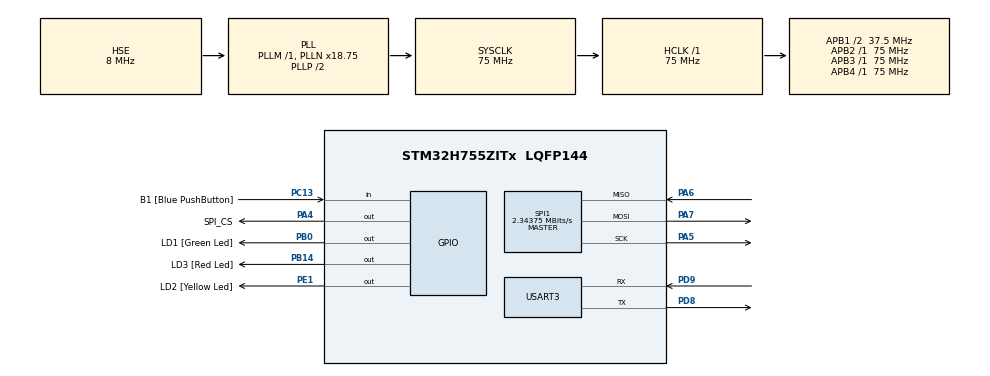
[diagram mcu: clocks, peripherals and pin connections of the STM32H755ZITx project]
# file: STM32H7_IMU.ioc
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CortexM4.IPs=BDMA,CORTEX_M4\:I,DEBUG,DMA,FATFS_M4\:I,FREERTOS_M4\:I,GPIO,IWDG2\:I,MDMA,NVIC2\:I,OPENAMP_M4\:I,PDM2PCM_M4\:I,PWR,RCC,RESMGR_UTILITY,SYS_M4\:I,USB_DEVICE_M4\:I,USB_HOST_M4\:I,VREFBUF,WWDG2\:I
CortexM4.Pins=PE1
CortexM7.IPs=BDMA\:I,CORTEX_M7\:I,DEBUG\:I,DMA\:I,FATFS_M7\:I,FREERTOS_M7\:I,GPIO\:I,IWDG1\:I,MDMA\:I,NVIC1\:I,OPENAMP_M7\:I,PDM2PCM_M7\:I,PWR\:I,RCC\:I,RESMGR_UTILITY\:I,SYS\:I,USB_DEVICE_M7\:I,USB_HOST_M7\:I,VREFBUF\:I,WWDG1\:I,USART3\:I,SPI1\:I
CortexM7.Pins=PC13,PA4,PB0,PB14
Mcu.Family=STM32H7
Mcu.Name=STM32H755ZITx
Mcu.Package=LQFP144
NVIC1.PriorityGroup=NVIC_PRIORITYGROUP_4
NVIC2.PriorityGroup=NVIC_PRIORITYGROUP_4
PA4.GPIO_Label=SPI_CS
PA4.PinAttribute=CortexM7
PA4.Signal=GPIO_Output
PA5.Mode=Full_Duplex_Master
PA5.PinAttribute=CortexM7
PA5.Signal=SPI1_SCK
PA6.Mode=Full_Duplex_Master
PA6.PinAttribute=CortexM7
PA6.Signal=SPI1_MISO
PA7.Mode=Full_Duplex_Master
PA7.PinAttribute=CortexM7
PA7.Signal=SPI1_MOSI
PB0.GPIO_Label=LD1 [Green Led]
PB0.PinAttribute=CortexM7
PB0.Signal=GPIO_Output
PB10.PinAttribute=CortexM7
PB10.Signal=I2C2_SCL
PB11.PinAttribute=CortexM7
PB11.Signal=I2C2_SDA
PB14.GPIO_Label=LD3 [Red Led]
PB14.PinAttribute=CortexM7
PB14.Signal=GPIO_Output
PC13.GPIO_Label=B1 [Blue PushButton]
PC13.PinAttribute=CortexM7
PC13.Signal=GPIO_Input
PC14-OSC32_IN\ (OSC32_IN).Mode=LSE-External-Oscillator
PC14-OSC32_IN\ (OSC32_IN).PinAttribute=CortexM7
PC14-OSC32_IN\ (OSC32_IN).Signal=RCC_OSC32_IN
PC15-OSC32_OUT\ (OSC32_OUT).Mode=LSE-External-Oscillator
PC15-OSC32_OUT\ (OSC32_OUT).PinAttribute=CortexM7
PC15-OSC32_OUT\ (OSC32_OUT).Signal=RCC_OSC32_OUT
PD8.Mode=Asynchronous
PD8.PinAttribute=CortexM7
PD8.Signal=USART3_TX
PD9.Mode=Asynchronous
PD9.PinAttribute=CortexM7
PD9.Signal=USART3_RX
PE1.GPIO_Label=LD2 [Yellow Led]
PE1.PinAttribute=CortexM4
PE1.Signal=GPIO_Output
PH0-OSC_IN\ (PH0).Mode=HSE-External-Clock-Source
PH0-OSC_IN\ (PH0).PinAttribute=CortexM7
PH0-OSC_IN\ (PH0).Signal=RCC_OSC_IN
ProjectManager.HeapSize=M4-0x200,M7-0x200
ProjectManager.StackSize=M4-0x400,M7-0x400
ProjectManager.TargetToolchain=STM32CubeIDE
RCC.ADCFreq_Value=16125000
RCC.APB1Freq_Value=37500000
RCC.APB2Freq_Value=75000000
RCC.APB3Freq_Value=75000000
RCC.APB4Freq_Value=75000000
RCC.CortexFreq_Value=75000000
RCC.D2PPRE1=RCC_APB1_DIV2
RCC.DIVM1=1
RCC.DIVN1=18
RCC.HCLKFreq_Value=75000000
RCC.HSE_VALUE=8000000
RCC.PLLFRACN=6144
RCC.PLLSourceVirtual=RCC_PLLSOURCE_HSE
RCC.SYSCLKFreq_VALUE=75000000
RCC.SYSCLKSource=RCC_SYSCLKSOURCE_PLLCLK
RCC.USBFreq_Value=75000000
SPI1.BaudRatePrescaler=SPI_BAUDRATEPRESCALER_32
SPI1.CLKPhase=SPI_PHASE_2EDGE
SPI1.CLKPolarity=SPI_POLARITY_HIGH
SPI1.CalculateBaudRate=2.34375 MBits/s
SPI1.DataSize=SPI_DATASIZE_8BIT
SPI1.Direction=SPI_DIRECTION_2LINES
SPI1.FifoThreshold=SPI_FIFO_THRESHOLD_07DATA
SPI1.Mode=SPI_MODE_MASTER
SPI1.NSSPMode=SPI_NSS_PULSE_DISABLE
SPI1.NSSPolarity=SPI_NSS_POLARITY_LOW
SPI1.VirtualType=VM_MASTER
USART3.VirtualMode-Asynchronous=VM_ASYNC
board=custom

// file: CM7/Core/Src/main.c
/* USER CODE BEGIN Header */
/**
  ******************************************************************************
  * @file           : main.c
  * @brief          : Main program body
  ******************************************************************************
  * @attention
  *
  * Copyright (c) 2023 STMicroelectronics.
  * All rights reserved.
  *
  * This software is licensed under terms that can be found in the LICENSE file
  * in the root directory of this software component.
  * If no LICENSE file comes with this software, it is provided AS-IS.
  *
  ******************************************************************************
  */
/* USER CODE END Header */
#include "main.h"

/* USER CODE BEGIN Includes */
#include "myprintf.h"
#include "math.h"
#include "stdbool.h"

/* USER CODE END Includes */

/* USER CODE BEGIN PD */

#ifndef HSEM_ID_0
#define HSEM_ID_0 (0U) /* HW semaphore 0*/
#endif
/* USER CODE END PD */

SPI_HandleTypeDef hspi1;

UART_HandleTypeDef huart3;

void SystemClock_Config(void);
static void MX_GPIO_Init(void);
static void MX_USART3_UART_Init(void);
static void MX_SPI1_Init(void);
/* USER CODE BEGIN PFP */
void mpu9250_read_reg(uint8_t reg, uint8_t *data, uint8_t len);
void mpu9250_write_reg(uint8_t reg, uint8_t data);

/* USER CODE END PFP */

int main(void)
{
/* USER CODE BEGIN Boot_Mode_Sequence_0 */
  int32_t timeout;
/* USER CODE END Boot_Mode_Sequence_0 */

/* USER CODE BEGIN Boot_Mode_Sequence_1 */
  /* Wait until CPU2 boots and enters in stop mode or timeout*/
  timeout = 0xFFFF;
  while((__HAL_RCC_GET_FLAG(RCC_FLAG_D2CKRDY) != RESET) && (timeout-- > 0));
  if ( timeout < 0 )
  {
  Error_Handler();
  }
/* USER CODE END Boot_Mode_Sequence_1 */
  /* MCU Configuration--------------------------------------------------------*/

  /* Reset of all peripherals, Initializes the Flash interface and the Systick. */
  HAL_Init();

  /* Configure the system clock */
  SystemClock_Config();
/* USER CODE BEGIN Boot_Mode_Sequence_2 */
/* When system initialization is finished, Cortex-M7 will release Cortex-M4 by means of
HSEM notification */
/*HW semaphore Clock enable*/
__HAL_RCC_HSEM_CLK_ENABLE();
/*Take HSEM */
HAL_HSEM_FastTake(HSEM_ID_0);
/*Release HSEM in order to notify the CPU2(CM4)*/
HAL_HSEM_Release(HSEM_ID_0,0);
/* wait until CPU2 wakes up from stop mode */
timeout = 0xFFFF;
while((__HAL_RCC_GET_FLAG(RCC_FLAG_D2CKRDY) == RESET) && (timeout-- > 0));
if ( timeout < 0 )
{
Error_Handler();
}
/* USER CODE END Boot_Mode_Sequence_2 */

  /* Initialize all configured peripherals */
  MX_GPIO_Init();
  MX_USART3_UART_Init();
  MX_SPI1_Init();
  /* USER CODE BEGIN 2 */
  int16_t acc_x, acc_y, acc_z;
  int16_t gyro_x, gyro_y, gyro_z;
  //int16_t mag_x, mag_y, mag_z;
  uint8_t imu_data[14];
  mpu9250_write_reg(27, 0x00);
  HAL_Delay(100);
  mpu9250_write_reg(28, 0x08);
  HAL_Delay(100);
  float a_conv = 2.0 / 32768;
  float g_conv = 250.0 / 32768.0;
  float a_x, a_y, a_z, g_x, g_y, g_z;
  /* USER CODE END 2 */

  /* Infinite loop */
  /* USER CODE BEGIN WHILE */
  printf("Starting !\r\n");
  while (1)
  {
	  HAL_Delay(5);
	  mpu9250_read_reg(59, imu_data, sizeof(imu_data));
	  acc_x = ((int16_t)imu_data[0]<<8) + imu_data[1];
	  acc_y = ((int16_t)imu_data[2]<<8) + imu_data[3];
	  acc_z = ((int16_t)imu_data[4]<<8) + imu_data[5];

//	  mpu9250_read_reg(67, imu_data, sizeof(imu_data));
//	  gyro_x = ((int16_t)imu_data[0]<<8) + imu_data[1];
//	  gyro_y = ((int16_t)imu_data[2]<<8) + imu_data[3];
//	  gyro_z = ((int16_t)imu_data[4]<<8) + imu_data[5];

	  a_x = (float)(acc_x *  a_conv) * 9.81;
	  a_y = (float)(acc_y *  a_conv) * 9.81;
	  a_z = (float)(acc_z *  a_conv) * 9.81;
//	  g_x = (float)(gyro_x *  g_conv);
//	  g_y = (float)(gyro_y *  g_conv);
//	  g_z = (float)(gyro_z *  g_conv);

//	  printf("Acc{x: %.3f, y: %.3f, z:%.3f}, Gyro{x: %.3f, y: %.3f, z:%.3f}\r\n",a_x, a_y, a_z,g_x, g_y, g_z);
	  printf("Acc{x: %.3f, y: %.3f, z:%.3f}\r\n",a_x, a_y, a_z);

    /* USER CODE END WHILE */

  }
}

void SystemClock_Config(void)
{
  RCC_OscInitTypeDef RCC_OscInitStruct = {0};
  RCC_ClkInitTypeDef RCC_ClkInitStruct = {0};

  /** Supply configuration update enable
  */
  HAL_PWREx_ConfigSupply(PWR_DIRECT_SMPS_SUPPLY);

  /** Configure the main internal regulator output voltage
  */
  __HAL_PWR_VOLTAGESCALING_CONFIG(PWR_REGULATOR_VOLTAGE_SCALE3);

  while(!__HAL_PWR_GET_FLAG(PWR_FLAG_VOSRDY)) {}

  /** Initializes the RCC Oscillators according to the specified parameters
  * in the RCC_OscInitTypeDef structure.
  */
  RCC_OscInitStruct.OscillatorType = RCC_OSCILLATORTYPE_HSE;
  RCC_OscInitStruct.HSEState = RCC_HSE_BYPASS;
  RCC_OscInitStruct.PLL.PLLState = RCC_PLL_ON;
  RCC_OscInitStruct.PLL.PLLSource = RCC_PLLSOURCE_HSE;
  RCC_OscInitStruct.PLL.PLLM = 1;
  RCC_OscInitStruct.PLL.PLLN = 18;
  RCC_OscInitStruct.PLL.PLLP = 2;
  RCC_OscInitStruct.PLL.PLLQ = 2;
  RCC_OscInitStruct.PLL.PLLR = 2;
  RCC_OscInitStruct.PLL.PLLRGE = RCC_PLL1VCIRANGE_3;
  RCC_OscInitStruct.PLL.PLLVCOSEL = RCC_PLL1VCOMEDIUM;
  RCC_OscInitStruct.PLL.PLLFRACN = 6144;
  if (HAL_RCC_OscConfig(&RCC_OscInitStruct) != HAL_OK)
  {
    Error_Handler();
  }

  /** Initializes the CPU, AHB and APB buses clocks
  */
  RCC_ClkInitStruct.ClockType = RCC_CLOCKTYPE_HCLK|RCC_CLOCKTYPE_SYSCLK
                              |RCC_CLOCKTYPE_PCLK1|RCC_CLOCKTYPE_PCLK2
                              |RCC_CLOCKTYPE_D3PCLK1|RCC_CLOCKTYPE_D1PCLK1;
  RCC_ClkInitStruct.SYSCLKSource = RCC_SYSCLKSOURCE_PLLCLK;
  RCC_ClkInitStruct.SYSCLKDivider = RCC_SYSCLK_DIV1;
  RCC_ClkInitStruct.AHBCLKDivider = RCC_HCLK_DIV1;
  RCC_ClkInitStruct.APB3CLKDivider = RCC_APB3_DIV1;
  RCC_ClkInitStruct.APB1CLKDivider = RCC_APB1_DIV2;
  RCC_ClkInitStruct.APB2CLKDivider = RCC_APB2_DIV1;
  RCC_ClkInitStruct.APB4CLKDivider = RCC_APB4_DIV1;

  if (HAL_RCC_ClockConfig(&RCC_ClkInitStruct, FLASH_LATENCY_1) != HAL_OK)
  {
    Error_Handler();
  }
}

static void MX_SPI1_Init(void)
{

  /* SPI1 parameter configuration*/
  hspi1.Instance = SPI1;
  hspi1.Init.Mode = SPI_MODE_MASTER;
  hspi1.Init.Direction = SPI_DIRECTION_2LINES;
  hspi1.Init.DataSize = SPI_DATASIZE_8BIT;
  hspi1.Init.CLKPolarity = SPI_POLARITY_HIGH;
  hspi1.Init.CLKPhase = SPI_PHASE_2EDGE;
  hspi1.Init.NSS = SPI_NSS_SOFT;
  hspi1.Init.BaudRatePrescaler = SPI_BAUDRATEPRESCALER_32;
  hspi1.Init.FirstBit = SPI_FIRSTBIT_MSB;
  hspi1.Init.TIMode = SPI_TIMODE_DISABLE;
  hspi1.Init.CRCCalculation = SPI_CRCCALCULATION_DISABLE;
  hspi1.Init.CRCPolynomial = 0x0;
  hspi1.Init.NSSPMode = SPI_NSS_PULSE_DISABLE;
  hspi1.Init.NSSPolarity = SPI_NSS_POLARITY_LOW;
  hspi1.Init.FifoThreshold = SPI_FIFO_THRESHOLD_07DATA;
  hspi1.Init.TxCRCInitializationPattern = SPI_CRC_INITIALIZATION_ALL_ZERO_PATTERN;
  hspi1.Init.RxCRCInitializationPattern = SPI_CRC_INITIALIZATION_ALL_ZERO_PATTERN;
  hspi1.Init.MasterSSIdleness = SPI_MASTER_SS_IDLENESS_00CYCLE;
  hspi1.Init.MasterInterDataIdleness = SPI_MASTER_INTERDATA_IDLENESS_00CYCLE;
  hspi1.Init.MasterReceiverAutoSusp = SPI_MASTER_RX_AUTOSUSP_DISABLE;
  hspi1.Init.MasterKeepIOState = SPI_MASTER_KEEP_IO_STATE_DISABLE;
  hspi1.Init.IOSwap = SPI_IO_SWAP_DISABLE;
  if (HAL_SPI_Init(&hspi1) != HAL_OK)
  {
    Error_Handler();
  }

}

static void MX_USART3_UART_Init(void)
{

  huart3.Instance = USART3;
  huart3.Init.BaudRate = 115200;
  huart3.Init.WordLength = UART_WORDLENGTH_8B;
  huart3.Init.StopBits = UART_STOPBITS_1;
  huart3.Init.Parity = UART_PARITY_NONE;
  huart3.Init.Mode = UART_MODE_TX_RX;
  huart3.Init.HwFlowCtl = UART_HWCONTROL_NONE;
  huart3.Init.OverSampling = UART_OVERSAMPLING_16;
  huart3.Init.OneBitSampling = UART_ONE_BIT_SAMPLE_DISABLE;
  huart3.Init.ClockPrescaler = UART_PRESCALER_DIV1;
  huart3.AdvancedInit.AdvFeatureInit = UART_ADVFEATURE_NO_INIT;
  if (HAL_UART_Init(&huart3) != HAL_OK)
  {
    Error_Handler();
  }
  if (HAL_UARTEx_SetTxFifoThreshold(&huart3, UART_TXFIFO_THRESHOLD_1_8) != HAL_OK)
  {
    Error_Handler();
  }
  if (HAL_UARTEx_SetRxFifoThreshold(&huart3, UART_RXFIFO_THRESHOLD_1_8) != HAL_OK)
  {
    Error_Handler();
  }
  if (HAL_UARTEx_DisableFifoMode(&huart3) != HAL_OK)
  {
    Error_Handler();
  }

}

static void MX_GPIO_Init(void)
{
  GPIO_InitTypeDef GPIO_InitStruct = {0};

  /* GPIO Ports Clock Enable */
  __HAL_RCC_GPIOC_CLK_ENABLE();
  __HAL_RCC_GPIOH_CLK_ENABLE();
  __HAL_RCC_GPIOA_CLK_ENABLE();
  __HAL_RCC_GPIOB_CLK_ENABLE();
  __HAL_RCC_GPIOD_CLK_ENABLE();

  /*Configure GPIO pin Output Level */
  HAL_GPIO_WritePin(SPI_CS_GPIO_Port, SPI_CS_Pin, GPIO_PIN_RESET);

  /*Configure GPIO pin Output Level */
  HAL_GPIO_WritePin(GPIOB, LD1_Pin|LD3_Pin, GPIO_PIN_RESET);

  /*Configure GPIO pin : B1_Pin */
  GPIO_InitStruct.Pin = B1_Pin;
  GPIO_InitStruct.Mode = GPIO_MODE_INPUT;
  GPIO_InitStruct.Pull = GPIO_NOPULL;
  HAL_GPIO_Init(B1_GPIO_Port, &GPIO_InitStruct);

  /*Configure GPIO pin : SPI_CS_Pin */
  GPIO_InitStruct.Pin = SPI_CS_Pin;
  GPIO_InitStruct.Mode = GPIO_MODE_OUTPUT_PP;
  GPIO_InitStruct.Pull = GPIO_NOPULL;
  GPIO_InitStruct.Speed = GPIO_SPEED_FREQ_LOW;
  HAL_GPIO_Init(SPI_CS_GPIO_Port, &GPIO_InitStruct);

  /*Configure GPIO pins : LD1_Pin LD3_Pin */
  GPIO_InitStruct.Pin = LD1_Pin|LD3_Pin;
  GPIO_InitStruct.Mode = GPIO_MODE_OUTPUT_PP;
  GPIO_InitStruct.Pull = GPIO_NOPULL;
  GPIO_InitStruct.Speed = GPIO_SPEED_FREQ_LOW;
  HAL_GPIO_Init(GPIOB, &GPIO_InitStruct);

}

/* USER CODE BEGIN 4 */
void mpu9250_write_reg(uint8_t reg, uint8_t data)
{
	HAL_GPIO_WritePin(SPI_CS_GPIO_Port, SPI_CS_Pin, GPIO_PIN_RESET);
	HAL_SPI_Transmit(&hspi1, &reg, 1, 100);
	HAL_SPI_Transmit(&hspi1, &data, 1, 100);
	HAL_GPIO_WritePin(SPI_CS_GPIO_Port, SPI_CS_Pin, GPIO_PIN_SET);
}
void mpu9250_read_reg(uint8_t reg, uint8_t *data, uint8_t len)
{
	uint8_t temp_data = 0x80|reg;
	HAL_GPIO_WritePin(SPI_CS_GPIO_Port, SPI_CS_Pin, GPIO_PIN_RESET);
	HAL_SPI_Transmit(&hspi1, &temp_data , 1, 100);
	HAL_SPI_Receive(&hspi1, data, len, 100);
	HAL_GPIO_WritePin(SPI_CS_GPIO_Port, SPI_CS_Pin, GPIO_PIN_SET);
}

/* USER CODE END 4 */

void Error_Handler(void)
{
  __disable_irq();
  while (1)
  {
  }
}
